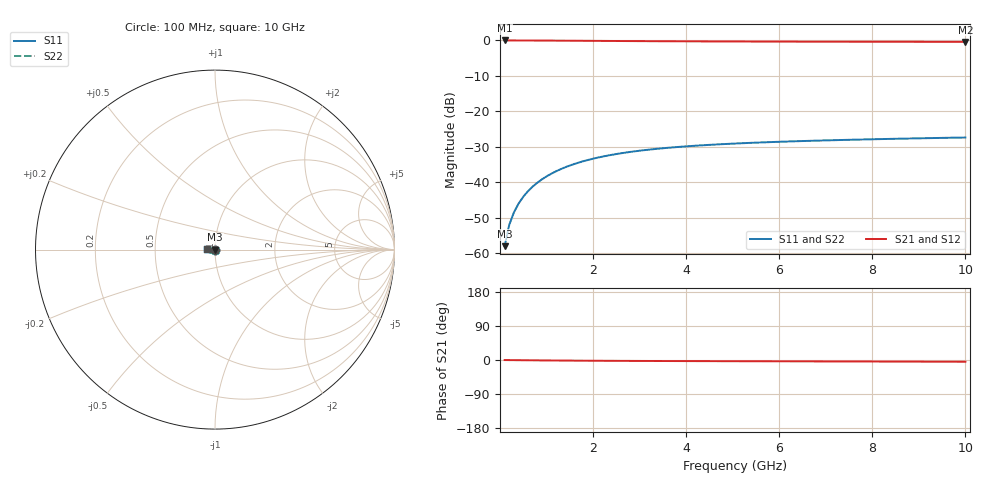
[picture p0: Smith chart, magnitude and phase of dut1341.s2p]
! Touchstone file exported from HFSS 2024.1.0
!  File:  C:/UserFiles/LocalFiles/RDL_TSV_Batchsim/temp_TSV1_1341_1780376310.aedt
!  Generated:  01:05:14 PM Jun  2, 2026
!  Design:  TSV1
!  Project:  temp_TSV1_1341_1780376310
!  Setup:  Setup1
!  Solution:  Sweep
! Variables:
!  dtsv = 12.74um
!  hbump = 3um
!  htsv = 68.33um
!  lrdl = 252.1521522um
!  p = 40
!  p1 = 59.68um
!  t = 500um
!  trdl = 3um
!  wrdl = 24.89489489um
# GHz S MA R 50.000000
! Terminal data exported
! Port[1] = TSV22_T1
! Port[2] = TSV22_T2
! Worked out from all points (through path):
!   100 points, 100 MHz to 10 GHz, reference 50 ohm
!   highest |S21| = 0.00 dB at 100 MHz (marker M1); lowest = -0.4 dB at 10 GHz (marker M2)
!   lowest |S11| = -58.0 dB at 100 MHz (marker M3), VSWR 1.00, Z = 50 - j0.126 ohm
!   |S11| at or under -10 dB: start of sweep to end of sweep
!   |S22| runs from -58.0 to -27.3 dB; largest |S21 - S12| = 8.6e-15
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0.1  0.001264 -88.4  0.9999 -0.1  0.9999 -0.1  0.001264 -88.4
! Gamma 0 0 0 0
! Port Impedance 50 0 50 0
0.2  0.002524 -92.1  0.9997 -0.2  0.9997 -0.2  0.002524 -92.1
0.3  0.003782 -94.7  0.9995 -0.4  0.9995 -0.4  0.003782 -94.7
0.4  0.005033 -97.0  0.9992 -0.5  0.9992 -0.5  0.005033 -97.0
0.5  0.006271 -99.1  0.9987 -0.6  0.9987 -0.6  0.006271 -99.1
0.6  0.007493 -101.3  0.9983 -0.7  0.9983 -0.7  0.007493 -101.3
0.7  0.008693 -103.3  0.9977 -0.8  0.9977 -0.8  0.008693 -103.3
0.8  0.00987 -105.4  0.9971 -0.9  0.9971 -0.9  0.00987 -105.4
0.9  0.01102 -107.4  0.9964 -1.0  0.9964 -1.0  0.01102 -107.4
1.1  0.01324 -111.2  0.9949 -1.2  0.9949 -1.2  0.01324 -111.2
1.4  0.01632 -116.7  0.9924 -1.5  0.9924 -1.5  0.01632 -116.7
1.6  0.01821 -120.2  0.9906 -1.7  0.9906 -1.7  0.01821 -120.2
1.8  0.01996 -123.4  0.9888 -1.8  0.9888 -1.8  0.01996 -123.4
2.1  0.02235 -128.1  0.986 -2.0  0.986 -2.0  0.02235 -128.1
2.5  0.0251 -133.7  0.9825 -2.3  0.9825 -2.3  0.0251 -133.7
2.9  0.02744 -138.8  0.9792 -2.5  0.9792 -2.5  0.02744 -138.8
3.4  0.02986 -144.4  0.9756 -2.7  0.9756 -2.7  0.02986 -144.4
4.2  0.03288 -152.2  0.9707 -2.9  0.9707 -2.9  0.03288 -152.2
5.1  0.03541 -159.4  0.9665 -3.2  0.9665 -3.2  0.03541 -159.4
6.7  0.0386 -169.8  0.9613 -3.7  0.9613 -3.7  0.0386 -169.8
8.4  0.04106 -178.5  0.9578 -4.1  0.9578 -4.1  0.04106 -178.5
10  0.04296 174.5  0.9556 -4.6  0.9556 -4.6  0.04296 174.5
